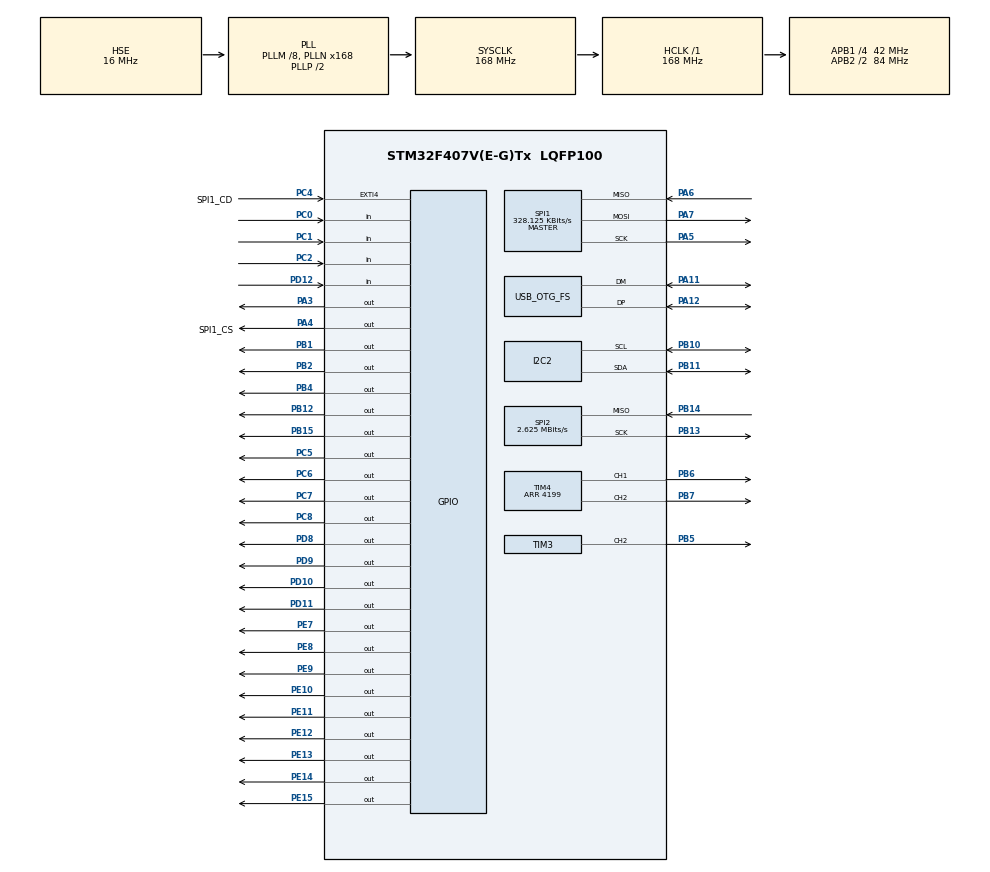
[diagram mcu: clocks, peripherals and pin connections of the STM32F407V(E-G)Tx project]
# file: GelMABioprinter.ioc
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Dma.Request0=SPI2_RX
Dma.SPI2_RX.0.Direction=DMA_PERIPH_TO_MEMORY
Dma.SPI2_RX.0.FIFOMode=DMA_FIFOMODE_DISABLE
Dma.SPI2_RX.0.Instance=DMA1_Stream3
Dma.SPI2_RX.0.MemDataAlignment=DMA_MDATAALIGN_BYTE
Dma.SPI2_RX.0.MemInc=DMA_MINC_ENABLE
Dma.SPI2_RX.0.Mode=DMA_NORMAL
Dma.SPI2_RX.0.PeriphDataAlignment=DMA_PDATAALIGN_BYTE
Dma.SPI2_RX.0.PeriphInc=DMA_PINC_DISABLE
Dma.SPI2_RX.0.Priority=DMA_PRIORITY_LOW
Mcu.Family=STM32F4
Mcu.Name=STM32F407V(E-G)Tx
Mcu.Package=LQFP100
NVIC.DMA1_Stream3_IRQn=true\:0\:0\:false\:false\:true\:false\:true\:true
NVIC.OTG_FS_IRQn=true\:0\:0\:false\:false\:true\:false\:true\:true
NVIC.PriorityGroup=NVIC_PRIORITYGROUP_4
NVIC.TIM1_UP_TIM10_IRQn=true\:0\:0\:false\:false\:true\:true\:true\:true
PA11.Mode=Device_Only
PA11.Signal=USB_OTG_FS_DM
PA12.Mode=Device_Only
PA12.Signal=USB_OTG_FS_DP
PA13.Mode=Serial_Wire
PA13.Signal=SYS_JTMS-SWDIO
PA14.Mode=Serial_Wire
PA14.Signal=SYS_JTCK-SWCLK
PA3.GPIO_Speed=GPIO_SPEED_FREQ_LOW
PA3.Signal=GPIO_Output
PA4.GPIO_Label=SPI1_CS
PA4.GPIO_PuPd=GPIO_PULLUP
PA4.PinState=GPIO_PIN_SET
PA4.Signal=GPIO_Output
PA5.GPIO_PuPd=GPIO_PULLUP
PA5.Mode=Full_Duplex_Master
PA5.Signal=SPI1_SCK
PA6.GPIO_PuPd=GPIO_PULLUP
PA6.Mode=Full_Duplex_Master
PA6.Signal=SPI1_MISO
PA7.GPIO_PuPd=GPIO_PULLUP
PA7.Mode=Full_Duplex_Master
PA7.Signal=SPI1_MOSI
PB1.Signal=GPIO_Output
PB10.Mode=I2C
PB10.Signal=I2C2_SCL
PB11.Mode=I2C
PB11.Signal=I2C2_SDA
PB12.PinState=GPIO_PIN_SET
PB12.Signal=GPIO_Output
PB13.Mode=RX_Only_Simplex_Unidirect_Master
PB13.Signal=SPI2_SCK
PB14.Mode=RX_Only_Simplex_Unidirect_Master
PB14.Signal=SPI2_MISO
PB15.Signal=GPIO_Output
PB2.Signal=GPIO_Output
PB4.Signal=GPIO_Output
PB5.Signal=S_TIM3_CH2
PB6.Signal=S_TIM4_CH1
PB7.Signal=S_TIM4_CH2
PC0.GPIO_PuPd=GPIO_PULLUP
PC0.Signal=GPIO_Input
PC1.GPIO_PuPd=GPIO_PULLUP
PC1.Signal=GPIO_Input
PC2.GPIO_PuPd=GPIO_PULLUP
PC2.Signal=GPIO_Input
PC4.GPIO_Label=SPI1_CD
PC4.GPIO_ModeDefaultEXTI=GPIO_MODE_IT_RISING_FALLING
PC4.GPIO_PuPd=GPIO_PULLUP
PC4.Signal=GPXTI4
PC5.Signal=GPIO_Output
PC6.PinState=GPIO_PIN_SET
PC6.Signal=GPIO_Output
PC7.PinState=GPIO_PIN_SET
PC7.Signal=GPIO_Output
PC8.Signal=GPIO_Output
PD10.Signal=GPIO_Output
PD11.Signal=GPIO_Output
PD12.GPIO_PuPd=GPIO_PULLUP
PD12.Signal=GPIO_Input
PD8.PinState=GPIO_PIN_SET
PD8.Signal=GPIO_Output
PD9.Signal=GPIO_Output
PE10.Signal=GPIO_Output
PE11.GPIO_Speed=GPIO_SPEED_FREQ_LOW
PE11.Signal=GPIO_Output
PE12.Signal=GPIO_Output
PE13.GPIO_Speed=GPIO_SPEED_FREQ_LOW
PE13.Signal=GPIO_Output
PE14.GPIO_Speed=GPIO_SPEED_FREQ_LOW
PE14.Signal=GPIO_Output
PE15.Signal=GPIO_Output
PE7.PinState=GPIO_PIN_SET
PE7.Signal=GPIO_Output
PE8.Signal=GPIO_Output
PE9.GPIO_Speed=GPIO_SPEED_FREQ_LOW
PE9.Signal=GPIO_Output
PH0-OSC_IN.Mode=HSE-External-Oscillator
PH0-OSC_IN.Signal=RCC_OSC_IN
PH1-OSC_OUT.Mode=HSE-External-Oscillator
PH1-OSC_OUT.Signal=RCC_OSC_OUT
ProjectManager.HeapSize=0x200
ProjectManager.StackSize=0x400
ProjectManager.TargetToolchain=STM32CubeIDE
RCC.48MHZClocksFreq_Value=48000000
RCC.AHBFreq_Value=168000000
RCC.APB1CLKDivider=RCC_HCLK_DIV4
RCC.APB1Freq_Value=42000000
RCC.APB1TimFreq_Value=84000000
RCC.APB2CLKDivider=RCC_HCLK_DIV2
RCC.APB2Freq_Value=84000000
RCC.APB2TimFreq_Value=168000000
RCC.CortexFreq_Value=168000000
RCC.HCLKFreq_Value=168000000
RCC.HSE_VALUE=16000000
RCC.HSI_VALUE=16000000
RCC.LSE_VALUE=32768
RCC.PLLM=8
RCC.PLLN=168
RCC.PLLQ=7
RCC.SYSCLKFreq_VALUE=168000000
RCC.SYSCLKSource=RCC_SYSCLKSOURCE_PLLCLK
RCC.VCOOutputFreq_Value=336000000
SH.S_TIM3_CH2.0=TIM3_CH2,PWM Generation2 CH2
SH.S_TIM4_CH1.0=TIM4_CH1,PWM Generation1 CH1
SH.S_TIM4_CH2.0=TIM4_CH2,PWM Generation2 CH2
SPI1.BaudRatePrescaler=SPI_BAUDRATEPRESCALER_256
SPI1.CalculateBaudRate=328.125 KBits/s
SPI1.Direction=SPI_DIRECTION_2LINES
SPI1.Mode=SPI_MODE_MASTER
SPI1.VirtualType=VM_MASTER
SPI2.BaudRatePrescaler=SPI_BAUDRATEPRESCALER_16
SPI2.CLKPhase=SPI_PHASE_1EDGE
SPI2.CalculateBaudRate=2.625 MBits/s
SPI2.DataSize=SPI_DATASIZE_16BIT
SPI2.Direction=SPI_DIRECTION_2LINES_RXONLY
SPI2.Mode=SPI_MODE_MASTER
SPI2.VirtualType=VM_MASTER
TIM1.Period=65535
TIM1.Prescaler=167
TIM2.Period=65535
TIM2.Prescaler=71
TIM3.AutoReloadPreload=TIM_AUTORELOAD_PRELOAD_ENABLE
TIM3.Channel-PWM\ Generation2\ CH2=TIM_CHANNEL_2
TIM3.Period=4199
TIM4.AutoReloadPreload=TIM_AUTORELOAD_PRELOAD_ENABLE
TIM4.Channel-PWM\ Generation1\ CH1=TIM_CHANNEL_1
TIM4.Channel-PWM\ Generation2\ CH2=TIM_CHANNEL_2
TIM4.Period=4199
TIM5.Prescaler=83
USB_DEVICE.CLASS_NAME_FS=CDC
USB_DEVICE.VirtualMode-CDC_FS=Cdc
USB_DEVICE.VirtualModeFS=Cdc_FS
USB_OTG_FS.VirtualMode=Device_Only
VP_FATFS_VS_Generic.Mode=User_defined
VP_TIM1_VS_ClockSourceINT.Mode=Internal
VP_TIM2_VS_ClockSourceINT.Mode=Internal
VP_TIM3_VS_ClockSourceINT.Mode=Internal
VP_TIM4_VS_ClockSourceINT.Mode=Internal
VP_TIM5_VS_ClockSourceINT.Mode=Internal
VP_USB_DEVICE_VS_USB_DEVICE_CDC_FS.Mode=CDC_FS
board=custom

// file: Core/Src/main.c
/* USER CODE BEGIN Header */
/**
  ******************************************************************************
  * @file           : main.c
  * @brief          : Main program body
  ******************************************************************************
  * @attention
  *
  * Copyright (c) 2025 STMicroelectronics.
  * All rights reserved.
  *
  * This software is licensed under terms that can be found in the LICENSE file
  * in the root directory of this software component.
  * If no LICENSE file comes with this software, it is provided AS-IS.
  *
  ******************************************************************************
  */
/* USER CODE END Header */
#include "main.h"
#include "fatfs.h"
#include "usb_device.h"

/* USER CODE BEGIN Includes */
#include <math.h>
#include "string.h"
#include <stdarg.h>
#include <stdio.h>
#include "usbd_def.h"
#include "usbd_cdc_if.h"
#include "system_pins.h"
#include "delay_us.h"
#include "stepper.h"
#include "eeprom.h"
#include "mosfet.h"
#include "MAX6675.h"
#include "HX711.h"
/* USER CODE END Includes */

I2C_HandleTypeDef hi2c2;

SPI_HandleTypeDef hspi1;
SPI_HandleTypeDef hspi2;
DMA_HandleTypeDef hdma_spi2_rx;

TIM_HandleTypeDef htim1;
TIM_HandleTypeDef htim2;
TIM_HandleTypeDef htim3;
TIM_HandleTypeDef htim4;
TIM_HandleTypeDef htim5;

/* USER CODE BEGIN PV */
static float   setNozTempCmd = 0.0f; // Nozzle set temperature
static uint8_t oneTimeDone = 0;
static float tempsC[8] = {0};
//static uint8_t muxIndex = 0;
//static uint32_t lastTempKickMs = 0;
static uint32_t lastUsbTxMs = 0;
static uint32_t lastPwmUpdateMs = 0;

// SD card variables
static FATFS   s_fs;                   // filesystem object
static FIL     s_file;                 // open CSV
static uint8_t s_sdReady = 0;          // 0=not mounted/opened yet
static uint8_t s_headerSkipped = 0;
static uint32_t s_lastSDms = 0;        // throttle
static char    s_line[160];            // one CSV line buffer
/* USER CODE END PV */

void SystemClock_Config(void);
static void MX_GPIO_Init(void);
static void MX_DMA_Init(void);
static void MX_TIM1_Init(void);
static void MX_SPI2_Init(void);
static void MX_TIM2_Init(void);
static void MX_SPI1_Init(void);
static void MX_TIM3_Init(void);
static void MX_TIM4_Init(void);
static void MX_I2C2_Init(void);
static void MX_TIM5_Init(void);
/* USER CODE BEGIN PFP */
void Home(TIM_HandleTypeDef *htim_for_delay);
static void Task_Once_StorageInit(void);
static void USB_Printf(const char *fmt, ...);
static void Task_StreamUSB(void);
static void Task_ReadSD(void);
static void Task_UpdatePWMs(void);

void SystemTasks(void);
/* USER CODE END PFP */

/* USER CODE BEGIN 0 */
/*static void Task_SampleSensors(void)
{
  uint32_t now = HAL_GetTick();
  if ((now - lastTempKickMs) >= 300U) {*/
    /* small settle time through mux */
    /*HAL_Delay(5);
    tempsC[muxIndex] = Max6675_Read_Temp(); // blocks ~250 ms inside
    muxIndex = (uint8_t)((muxIndex + 1U) & 7U);
    lastTempKickMs = HAL_GetTick(); // update after the blocking read
  }
}*/
/* USER CODE END 0 */

int main(void)
{

  /* MCU Configuration--------------------------------------------------------*/

  /* Reset of all peripherals, Initializes the Flash interface and the Systick. */
  HAL_Init();

  /* Configure the system clock */
  SystemClock_Config();

  /* Initialize all configured peripherals */
  MX_GPIO_Init();
  MX_DMA_Init();
  MX_TIM1_Init();
  MX_USB_DEVICE_Init();
  MX_SPI2_Init();
  MX_TIM2_Init();
  MX_SPI1_Init();
  MX_FATFS_Init();
  MX_TIM3_Init();
  MX_TIM4_Init();
  MX_I2C2_Init();
  MX_TIM5_Init();
  /* USER CODE BEGIN 2 */
  HAL_GPIO_WritePin(PELTIER_GPIO_Port, PELTIER_GPIO_Pin, GPIO_PIN_SET); // Give the bed time to cool

  extern TIM_HandleTypeDef htim5;
  Home(&htim5);

  // Start the stepper ISR scheduler on TIM1
  Stepper_Init_TIM1();
  Stepper_ResetPosition(0,0,0,0);
  //Stepper_QueueAbs(135, 170.5, -99.7, 0, 30 );// The iteratively solved bed center
  //Stepper_QueueAbs(210, 270, -90, 0, 40 );
  //Stepper_QueueAbs(210, 270, -90, 10, 2 );
  //Stepper_QueueAbs(210,0,0,31,40);

  Mosfet_Init();
  HAL_GPIO_WritePin(PELTIER_GPIO_Port, PELTIER_GPIO_Pin, GPIO_PIN_SET); // Give the bed time to cool

  // Start 1µs ticker used by HX711 microDelay()
  HAL_TIM_Base_Start(&htim2);

  /* USER CODE END 2 */

  /* Infinite loop */
  /* USER CODE BEGIN WHILE */

  HAL_GPIO_WritePin(SSPORT, SSPIN, GPIO_PIN_SET);

  while (1)
  {
	SystemTasks();
    /* USER CODE END WHILE */

  }
}

void SystemClock_Config(void)
{
  RCC_OscInitTypeDef RCC_OscInitStruct = {0};
  RCC_ClkInitTypeDef RCC_ClkInitStruct = {0};

  /** Configure the main internal regulator output voltage
  */
  __HAL_RCC_PWR_CLK_ENABLE();
  __HAL_PWR_VOLTAGESCALING_CONFIG(PWR_REGULATOR_VOLTAGE_SCALE1);

  /** Initializes the RCC Oscillators according to the specified parameters
  * in the RCC_OscInitTypeDef structure.
  */
  RCC_OscInitStruct.OscillatorType = RCC_OSCILLATORTYPE_HSE;
  RCC_OscInitStruct.HSEState = RCC_HSE_ON;
  RCC_OscInitStruct.PLL.PLLState = RCC_PLL_ON;
  RCC_OscInitStruct.PLL.PLLSource = RCC_PLLSOURCE_HSE;
  RCC_OscInitStruct.PLL.PLLM = 8;
  RCC_OscInitStruct.PLL.PLLN = 168;
  RCC_OscInitStruct.PLL.PLLP = RCC_PLLP_DIV2;
  RCC_OscInitStruct.PLL.PLLQ = 7;
  if (HAL_RCC_OscConfig(&RCC_OscInitStruct) != HAL_OK)
  {
    Error_Handler();
  }

  /** Initializes the CPU, AHB and APB buses clocks
  */
  RCC_ClkInitStruct.ClockType = RCC_CLOCKTYPE_HCLK|RCC_CLOCKTYPE_SYSCLK
                              |RCC_CLOCKTYPE_PCLK1|RCC_CLOCKTYPE_PCLK2;
  RCC_ClkInitStruct.SYSCLKSource = RCC_SYSCLKSOURCE_PLLCLK;
  RCC_ClkInitStruct.AHBCLKDivider = RCC_SYSCLK_DIV1;
  RCC_ClkInitStruct.APB1CLKDivider = RCC_HCLK_DIV4;
  RCC_ClkInitStruct.APB2CLKDivider = RCC_HCLK_DIV2;

  if (HAL_RCC_ClockConfig(&RCC_ClkInitStruct, FLASH_LATENCY_5) != HAL_OK)
  {
    Error_Handler();
  }
}

static void MX_I2C2_Init(void)
{

  hi2c2.Instance = I2C2;
  hi2c2.Init.ClockSpeed = 100000;
  hi2c2.Init.DutyCycle = I2C_DUTYCYCLE_2;
  hi2c2.Init.OwnAddress1 = 0;
  hi2c2.Init.AddressingMode = I2C_ADDRESSINGMODE_7BIT;
  hi2c2.Init.DualAddressMode = I2C_DUALADDRESS_DISABLE;
  hi2c2.Init.OwnAddress2 = 0;
  hi2c2.Init.GeneralCallMode = I2C_GENERALCALL_DISABLE;
  hi2c2.Init.NoStretchMode = I2C_NOSTRETCH_DISABLE;
  if (HAL_I2C_Init(&hi2c2) != HAL_OK)
  {
    Error_Handler();
  }

}

static void MX_SPI1_Init(void)
{

  /* SPI1 parameter configuration*/
  hspi1.Instance = SPI1;
  hspi1.Init.Mode = SPI_MODE_MASTER;
  hspi1.Init.Direction = SPI_DIRECTION_2LINES;
  hspi1.Init.DataSize = SPI_DATASIZE_8BIT;
  hspi1.Init.CLKPolarity = SPI_POLARITY_LOW;
  hspi1.Init.CLKPhase = SPI_PHASE_1EDGE;
  hspi1.Init.NSS = SPI_NSS_SOFT;
  hspi1.Init.BaudRatePrescaler = SPI_BAUDRATEPRESCALER_256;
  hspi1.Init.FirstBit = SPI_FIRSTBIT_MSB;
  hspi1.Init.TIMode = SPI_TIMODE_DISABLE;
  hspi1.Init.CRCCalculation = SPI_CRCCALCULATION_DISABLE;
  hspi1.Init.CRCPolynomial = 10;
  if (HAL_SPI_Init(&hspi1) != HAL_OK)
  {
    Error_Handler();
  }

}

static void MX_SPI2_Init(void)
{

  /* SPI2 parameter configuration*/
  hspi2.Instance = SPI2;
  hspi2.Init.Mode = SPI_MODE_MASTER;
  hspi2.Init.Direction = SPI_DIRECTION_2LINES_RXONLY;
  hspi2.Init.DataSize = SPI_DATASIZE_16BIT;
  hspi2.Init.CLKPolarity = SPI_POLARITY_LOW;
  hspi2.Init.CLKPhase = SPI_PHASE_1EDGE;
  hspi2.Init.NSS = SPI_NSS_SOFT;
  hspi2.Init.BaudRatePrescaler = SPI_BAUDRATEPRESCALER_16;
  hspi2.Init.FirstBit = SPI_FIRSTBIT_MSB;
  hspi2.Init.TIMode = SPI_TIMODE_DISABLE;
  hspi2.Init.CRCCalculation = SPI_CRCCALCULATION_DISABLE;
  hspi2.Init.CRCPolynomial = 10;
  if (HAL_SPI_Init(&hspi2) != HAL_OK)
  {
    Error_Handler();
  }

}

static void MX_TIM1_Init(void)
{

  TIM_ClockConfigTypeDef sClockSourceConfig = {0};
  TIM_MasterConfigTypeDef sMasterConfig = {0};

  htim1.Instance = TIM1;
  htim1.Init.Prescaler = 167;
  htim1.Init.CounterMode = TIM_COUNTERMODE_UP;
  htim1.Init.Period = 65535;
  htim1.Init.ClockDivision = TIM_CLOCKDIVISION_DIV1;
  htim1.Init.RepetitionCounter = 0;
  htim1.Init.AutoReloadPreload = TIM_AUTORELOAD_PRELOAD_DISABLE;
  if (HAL_TIM_Base_Init(&htim1) != HAL_OK)
  {
    Error_Handler();
  }
  sClockSourceConfig.ClockSource = TIM_CLOCKSOURCE_INTERNAL;
  if (HAL_TIM_ConfigClockSource(&htim1, &sClockSourceConfig) != HAL_OK)
  {
    Error_Handler();
  }
  sMasterConfig.MasterOutputTrigger = TIM_TRGO_RESET;
  sMasterConfig.MasterSlaveMode = TIM_MASTERSLAVEMODE_DISABLE;
  if (HAL_TIMEx_MasterConfigSynchronization(&htim1, &sMasterConfig) != HAL_OK)
  {
    Error_Handler();
  }

}

static void MX_TIM2_Init(void)
{

  TIM_ClockConfigTypeDef sClockSourceConfig = {0};
  TIM_MasterConfigTypeDef sMasterConfig = {0};

  htim2.Instance = TIM2;
  htim2.Init.Prescaler = 71;
  htim2.Init.CounterMode = TIM_COUNTERMODE_UP;
  htim2.Init.Period = 65535;
  htim2.Init.ClockDivision = TIM_CLOCKDIVISION_DIV1;
  htim2.Init.AutoReloadPreload = TIM_AUTORELOAD_PRELOAD_DISABLE;
  if (HAL_TIM_Base_Init(&htim2) != HAL_OK)
  {
    Error_Handler();
  }
  sClockSourceConfig.ClockSource = TIM_CLOCKSOURCE_INTERNAL;
  if (HAL_TIM_ConfigClockSource(&htim2, &sClockSourceConfig) != HAL_OK)
  {
    Error_Handler();
  }
  sMasterConfig.MasterOutputTrigger = TIM_TRGO_RESET;
  sMasterConfig.MasterSlaveMode = TIM_MASTERSLAVEMODE_DISABLE;
  if (HAL_TIMEx_MasterConfigSynchronization(&htim2, &sMasterConfig) != HAL_OK)
  {
    Error_Handler();
  }

}

static void MX_TIM3_Init(void)
{

  TIM_ClockConfigTypeDef sClockSourceConfig = {0};
  TIM_MasterConfigTypeDef sMasterConfig = {0};
  TIM_OC_InitTypeDef sConfigOC = {0};

  htim3.Instance = TIM3;
  htim3.Init.Prescaler = 0;
  htim3.Init.CounterMode = TIM_COUNTERMODE_UP;
  htim3.Init.Period = 4199;
  htim3.Init.ClockDivision = TIM_CLOCKDIVISION_DIV1;
  htim3.Init.AutoReloadPreload = TIM_AUTORELOAD_PRELOAD_ENABLE;
  if (HAL_TIM_Base_Init(&htim3) != HAL_OK)
  {
    Error_Handler();
  }
  sClockSourceConfig.ClockSource = TIM_CLOCKSOURCE_INTERNAL;
  if (HAL_TIM_ConfigClockSource(&htim3, &sClockSourceConfig) != HAL_OK)
  {
    Error_Handler();
  }
  if (HAL_TIM_PWM_Init(&htim3) != HAL_OK)
  {
    Error_Handler();
  }
  sMasterConfig.MasterOutputTrigger = TIM_TRGO_RESET;
  sMasterConfig.MasterSlaveMode = TIM_MASTERSLAVEMODE_DISABLE;
  if (HAL_TIMEx_MasterConfigSynchronization(&htim3, &sMasterConfig) != HAL_OK)
  {
    Error_Handler();
  }
  sConfigOC.OCMode = TIM_OCMODE_PWM1;
  sConfigOC.Pulse = 0;
  sConfigOC.OCPolarity = TIM_OCPOLARITY_HIGH;
  sConfigOC.OCFastMode = TIM_OCFAST_DISABLE;
  if (HAL_TIM_PWM_ConfigChannel(&htim3, &sConfigOC, TIM_CHANNEL_2) != HAL_OK)
  {
    Error_Handler();
  }
  HAL_TIM_MspPostInit(&htim3);

}

static void MX_TIM4_Init(void)
{

  TIM_ClockConfigTypeDef sClockSourceConfig = {0};
  TIM_MasterConfigTypeDef sMasterConfig = {0};
  TIM_OC_InitTypeDef sConfigOC = {0};

  htim4.Instance = TIM4;
  htim4.Init.Prescaler = 0;
  htim4.Init.CounterMode = TIM_COUNTERMODE_UP;
  htim4.Init.Period = 4199;
  htim4.Init.ClockDivision = TIM_CLOCKDIVISION_DIV1;
  htim4.Init.AutoReloadPreload = TIM_AUTORELOAD_PRELOAD_ENABLE;
  if (HAL_TIM_Base_Init(&htim4) != HAL_OK)
  {
    Error_Handler();
  }
  sClockSourceConfig.ClockSource = TIM_CLOCKSOURCE_INTERNAL;
  if (HAL_TIM_ConfigClockSource(&htim4, &sClockSourceConfig) != HAL_OK)
  {
    Error_Handler();
  }
  if (HAL_TIM_PWM_Init(&htim4) != HAL_OK)
  {
    Error_Handler();
  }
  sMasterConfig.MasterOutputTrigger = TIM_TRGO_RESET;
  sMasterConfig.MasterSlaveMode = TIM_MASTERSLAVEMODE_DISABLE;
  if (HAL_TIMEx_MasterConfigSynchronization(&htim4, &sMasterConfig) != HAL_OK)
  {
    Error_Handler();
  }
  sConfigOC.OCMode = TIM_OCMODE_PWM1;
  sConfigOC.Pulse = 0;
  sConfigOC.OCPolarity = TIM_OCPOLARITY_HIGH;
  sConfigOC.OCFastMode = TIM_OCFAST_DISABLE;
  if (HAL_TIM_PWM_ConfigChannel(&htim4, &sConfigOC, TIM_CHANNEL_1) != HAL_OK)
  {
    Error_Handler();
  }
  if (HAL_TIM_PWM_ConfigChannel(&htim4, &sConfigOC, TIM_CHANNEL_2) != HAL_OK)
  {
    Error_Handler();
  }
  HAL_TIM_MspPostInit(&htim4);

}

static void MX_TIM5_Init(void)
{

  TIM_ClockConfigTypeDef sClockSourceConfig = {0};
  TIM_MasterConfigTypeDef sMasterConfig = {0};

  htim5.Instance = TIM5;
  htim5.Init.Prescaler = 83;
  htim5.Init.CounterMode = TIM_COUNTERMODE_UP;
  htim5.Init.Period = 4294967295;
  htim5.Init.ClockDivision = TIM_CLOCKDIVISION_DIV1;
  htim5.Init.AutoReloadPreload = TIM_AUTORELOAD_PRELOAD_DISABLE;
  if (HAL_TIM_Base_Init(&htim5) != HAL_OK)
  {
    Error_Handler();
  }
  sClockSourceConfig.ClockSource = TIM_CLOCKSOURCE_INTERNAL;
  if (HAL_TIM_ConfigClockSource(&htim5, &sClockSourceConfig) != HAL_OK)
  {
    Error_Handler();
  }
  sMasterConfig.MasterOutputTrigger = TIM_TRGO_RESET;
  sMasterConfig.MasterSlaveMode = TIM_MASTERSLAVEMODE_DISABLE;
  if (HAL_TIMEx_MasterConfigSynchronization(&htim5, &sMasterConfig) != HAL_OK)
  {
    Error_Handler();
  }

}

static void MX_DMA_Init(void)
{

  /* DMA controller clock enable */
  __HAL_RCC_DMA1_CLK_ENABLE();

  /* DMA interrupt init */
  /* DMA1_Stream3_IRQn interrupt configuration */
  HAL_NVIC_SetPriority(DMA1_Stream3_IRQn, 0, 0);
  HAL_NVIC_EnableIRQ(DMA1_Stream3_IRQn);

}

static void MX_GPIO_Init(void)
{
  GPIO_InitTypeDef GPIO_InitStruct = {0};

  /* GPIO Ports Clock Enable */
  __HAL_RCC_GPIOH_CLK_ENABLE();
  __HAL_RCC_GPIOC_CLK_ENABLE();
  __HAL_RCC_GPIOA_CLK_ENABLE();
  __HAL_RCC_GPIOB_CLK_ENABLE();
  __HAL_RCC_GPIOE_CLK_ENABLE();
  __HAL_RCC_GPIOD_CLK_ENABLE();

  /*Configure GPIO pin Output Level */
  HAL_GPIO_WritePin(GPIOA, GPIO_PIN_3, GPIO_PIN_RESET);

  /*Configure GPIO pin Output Level */
  HAL_GPIO_WritePin(SPI1_CS_GPIO_Port, SPI1_CS_Pin, GPIO_PIN_SET);

  /*Configure GPIO pin Output Level */
  HAL_GPIO_WritePin(GPIOC, GPIO_PIN_5|GPIO_PIN_8, GPIO_PIN_RESET);

  /*Configure GPIO pin Output Level */
  HAL_GPIO_WritePin(GPIOB, GPIO_PIN_1|GPIO_PIN_2|GPIO_PIN_15|GPIO_PIN_4, GPIO_PIN_RESET);

  /*Configure GPIO pin Output Level */
  HAL_GPIO_WritePin(GPIOE, GPIO_PIN_7, GPIO_PIN_SET);

  /*Configure GPIO pin Output Level */
  HAL_GPIO_WritePin(GPIOE, GPIO_PIN_8|GPIO_PIN_9|GPIO_PIN_10|GPIO_PIN_11
                          |GPIO_PIN_12|GPIO_PIN_13|GPIO_PIN_14|GPIO_PIN_15, GPIO_PIN_RESET);

  /*Configure GPIO pin Output Level */
  HAL_GPIO_WritePin(GPIOB, GPIO_PIN_12, GPIO_PIN_SET);

  /*Configure GPIO pin Output Level */
  HAL_GPIO_WritePin(GPIOD, GPIO_PIN_8, GPIO_PIN_SET);

  /*Configure GPIO pin Output Level */
  HAL_GPIO_WritePin(GPIOD, GPIO_PIN_9|GPIO_PIN_10|GPIO_PIN_11, GPIO_PIN_RESET);

  /*Configure GPIO pin Output Level */
  HAL_GPIO_WritePin(GPIOC, GPIO_PIN_6|GPIO_PIN_7, GPIO_PIN_SET);

  /*Configure GPIO pins : PC0 PC1 PC2 */
  GPIO_InitStruct.Pin = GPIO_PIN_0|GPIO_PIN_1|GPIO_PIN_2;
  GPIO_InitStruct.Mode = GPIO_MODE_INPUT;
  GPIO_InitStruct.Pull = GPIO_PULLUP;
  HAL_GPIO_Init(GPIOC, &GPIO_InitStruct);

  /*Configure GPIO pin : PA3 */
  GPIO_InitStruct.Pin = GPIO_PIN_3;
  GPIO_InitStruct.Mode = GPIO_MODE_OUTPUT_PP;
  GPIO_InitStruct.Pull = GPIO_NOPULL;
  GPIO_InitStruct.Speed = GPIO_SPEED_FREQ_LOW;
  HAL_GPIO_Init(GPIOA, &GPIO_InitStruct);

  /*Configure GPIO pin : SPI1_CS_Pin */
  GPIO_InitStruct.Pin = SPI1_CS_Pin;
  GPIO_InitStruct.Mode = GPIO_MODE_OUTPUT_PP;
  GPIO_InitStruct.Pull = GPIO_PULLUP;
  GPIO_InitStruct.Speed = GPIO_SPEED_FREQ_LOW;
  HAL_GPIO_Init(SPI1_CS_GPIO_Port, &GPIO_InitStruct);

  /*Configure GPIO pin : SPI1_CD_Pin */
  GPIO_InitStruct.Pin = SPI1_CD_Pin;
  GPIO_InitStruct.Mode = GPIO_MODE_IT_RISING_FALLING;
  GPIO_InitStruct.Pull = GPIO_PULLUP;
  HAL_GPIO_Init(SPI1_CD_GPIO_Port, &GPIO_InitStruct);

  /*Configure GPIO pins : PC5 PC6 PC7 PC8 */
  GPIO_InitStruct.Pin = GPIO_PIN_5|GPIO_PIN_6|GPIO_PIN_7|GPIO_PIN_8;
  GPIO_InitStruct.Mode = GPIO_MODE_OUTPUT_PP;
  GPIO_InitStruct.Pull = GPIO_NOPULL;
  GPIO_InitStruct.Speed = GPIO_SPEED_FREQ_LOW;
  HAL_GPIO_Init(GPIOC, &GPIO_InitStruct);

  /*Configure GPIO pins : PB1 PB2 PB12 PB15
                           PB4 */
  GPIO_InitStruct.Pin = GPIO_PIN_1|GPIO_PIN_2|GPIO_PIN_12|GPIO_PIN_15
                          |GPIO_PIN_4;
  GPIO_InitStruct.Mode = GPIO_MODE_OUTPUT_PP;
  GPIO_InitStruct.Pull = GPIO_NOPULL;
  GPIO_InitStruct.Speed = GPIO_SPEED_FREQ_LOW;
  HAL_GPIO_Init(GPIOB, &GPIO_InitStruct);

  /*Configure GPIO pins : PE7 PE8 PE9 PE10
                           PE11 PE12 PE13 PE14
                           PE15 */
  GPIO_InitStruct.Pin = GPIO_PIN_7|GPIO_PIN_8|GPIO_PIN_9|GPIO_PIN_10
                          |GPIO_PIN_11|GPIO_PIN_12|GPIO_PIN_13|GPIO_PIN_14
                          |GPIO_PIN_15;
  GPIO_InitStruct.Mode = GPIO_MODE_OUTPUT_PP;
  GPIO_InitStruct.Pull = GPIO_NOPULL;
  GPIO_InitStruct.Speed = GPIO_SPEED_FREQ_LOW;
  HAL_GPIO_Init(GPIOE, &GPIO_InitStruct);

  /*Configure GPIO pins : PD8 PD9 PD10 PD11 */
  GPIO_InitStruct.Pin = GPIO_PIN_8|GPIO_PIN_9|GPIO_PIN_10|GPIO_PIN_11;
  GPIO_InitStruct.Mode = GPIO_MODE_OUTPUT_PP;
  GPIO_InitStruct.Pull = GPIO_NOPULL;
  GPIO_InitStruct.Speed = GPIO_SPEED_FREQ_LOW;
  HAL_GPIO_Init(GPIOD, &GPIO_InitStruct);

  /*Configure GPIO pin : PD12 */
  GPIO_InitStruct.Pin = GPIO_PIN_12;
  GPIO_InitStruct.Mode = GPIO_MODE_INPUT;
  GPIO_InitStruct.Pull = GPIO_PULLUP;
  HAL_GPIO_Init(GPIOD, &GPIO_InitStruct);

}

/* USER CODE BEGIN 4 */
// Homing function
void Home(TIM_HandleTypeDef *htim_for_delay){
    const uint32_t pulse_high_us = 5;    // >1 µs is required by A4988 datasheet
    const uint32_t z_between_us  = 150;  // 16 Microsteps + TR8x8 lead screw => 16.13 mm/s
    const uint32_t y_between_us  = 1390; // 16 Microsteps + GT2 36T belt     => 16.13 mm/s
    const uint32_t x_between_us  = 770;  // 16 Microsteps + GT2 20T belt     => 16.13 mm/s

    delay_us_init(htim_for_delay); 						    // pass &htim from main.c
    HAL_GPIO_WritePin(EN_Port, EN_Pin, GPIO_PIN_RESET);     // Enable outputs (LOW = enabled)
    HAL_GPIO_WritePin(SLEEP_Port, SLEEP_Pin, GPIO_PIN_SET); //release reset (HIGH)
    HAL_GPIO_WritePin(RESET_Port, RESET_Pin, GPIO_PIN_SET); //Disable sleep (HIGH)

    // Microstep Settings
    HAL_GPIO_WritePin(M0_Port, M0_Pin, GPIO_PIN_SET);
    HAL_GPIO_WritePin(M1_Port, M1_Pin, GPIO_PIN_SET);
    HAL_GPIO_WritePin(M2_Port, M2_Pin, GPIO_PIN_SET);

    // Homing direction
    HAL_GPIO_WritePin(DIR_Z_Port, DIR_Z_Pin, GPIO_PIN_SET);
    HAL_GPIO_WritePin(DIR_Y_Port, DIR_Y_Pin, GPIO_PIN_SET);
    HAL_GPIO_WritePin(DIR_X_Port, DIR_X_Pin, GPIO_PIN_RESET);

    delay_us(10); // Delay for latency

    //Home Z axis
    while (HAL_GPIO_ReadPin(LIMIT_Z_Port, LIMIT_Z_Pin) == GPIO_PIN_SET) {
        HAL_GPIO_WritePin(STEP_Z_Port, STEP_Z_Pin, GPIO_PIN_SET);
        delay_us(pulse_high_us);
        HAL_GPIO_WritePin(STEP_Z_Port, STEP_Z_Pin, GPIO_PIN_RESET);
        delay_us(z_between_us);
    }

    //Home Y axis
    while (HAL_GPIO_ReadPin(LIMIT_Y_Port, LIMIT_Y_Pin) == GPIO_PIN_SET) {
        HAL_GPIO_WritePin(STEP_Y_Port, STEP_Y_Pin, GPIO_PIN_SET);
        delay_us(pulse_high_us);
        HAL_GPIO_WritePin(STEP_Y_Port, STEP_Y_Pin, GPIO_PIN_RESET);
        delay_us(y_between_us);
    }

    //Home X axis
    while (HAL_GPIO_ReadPin(LIMIT_X_Port, LIMIT_X_Pin) == GPIO_PIN_SET) {
        HAL_GPIO_WritePin(STEP_X_Port, STEP_X_Pin, GPIO_PIN_SET);
        delay_us(pulse_high_us);
        HAL_GPIO_WritePin(STEP_X_Port, STEP_X_Pin, GPIO_PIN_RESET);
        delay_us(x_between_us);
    }
}
static void Task_Once_StorageInit(void)
{
  if (oneTimeDone) return;
  if (!s_sdReady) {
    MX_FATFS_Init();
    if (f_mount(&s_fs, "", 1) == FR_OK) {  // mount at root
      /* Open for reading*/
      if (f_open(&s_file, "PrintTask.csv", FA_READ) == FR_OK) {
        s_sdReady = 1;
        s_headerSkipped = 0;               // skip header on first read
      }
    }
  }
  oneTimeDone = 1;
}
static void Task_ReadSD(void)
{
  /* Read at 20 Hz */
  uint32_t now = HAL_GetTick();
  if ((now - s_lastSDms) < 50U) return;
  s_lastSDms = now;
  if (!s_sdReady) return;                 // not mounted/opened

  for (int tries = 0; tries < 8; ++tries)  // small chunk per call to stay snappy
  {
    TCHAR* res = f_gets(s_line, sizeof(s_line), &s_file);
    if (!res) {
      /* EOF or read error: stop feeding (or rewind to loop the job) */
      // f_lseek(&s_file, 0);
      // s_headerSkipped = 0;
      return;
    }

    /* Save the FULL line length BEFORE trimming — for correct rewind on queue-full */
    FSIZE_t full_len = (FSIZE_t)strlen(s_line);

    /* Trim leading spaces and optional UTF-8 BOM on the very first line */
    char *p = s_line;
    if (!s_headerSkipped && (unsigned char)p[0]==0xEF && (unsigned char)p[1]==0xBB && (unsigned char)p[2]==0xBF) {
      p += 3; // skip BOM
    }
    while (*p==' ' || *p=='\t') ++p;

    /* Skip blank lines / comments */
    if (*p=='\0' || *p=='\r' || *p=='\n' || *p=='#' || *p==';') continue;

    /* Skip header row once (starts with 'X' or 'x') */
    if (!s_headerSkipped) {
      s_headerSkipped = 1;
      if (p[0]=='X' || p[0]=='x') continue;
    }

    /* Parse CSV: X,Y,Z,Speed,E,Mode,NozzleTemp */
    float X=0, Y=0, Z=0, Speed=0, E=0, NozT=0;
    int   Mode=0;

    int n = sscanf(p, " %f , %f , %f , %f , %f , %d , %f",
                   &X,   &Y,   &Z,   &Speed, &E,   &Mode, &NozT);

    /* Require ALL 7 fields; anything else is malformed => skip safely */
    if (n != 7 || (Mode != 0 && Mode != 1)) {
      continue;
    }

    setNozTempCmd = NozT;  // stash latest temp command

    /* Queue the motion. If queue is full, rewind exactly the full line length. */
    bool ok = (Mode == 0)
      ? Stepper_QueueAbs(X, Y, Z, E, Speed)   // signature: (X,Y,Z,E,Speed)
      : Stepper_QueueRel(X, Y, Z, E, Speed);

    if (!ok) {
      FSIZE_t cur = f_tell(&s_file);
      if (cur >= full_len) {
        f_lseek(&s_file, cur - full_len);  // retry same line next tick
      }
      break;  // stop feeding this cycle
    }
  }
}

static void USB_Printf(const char *fmt, ...)
{
  static char buf[512];
  va_list ap;
  va_start(ap, fmt);
  int n = vsnprintf(buf, sizeof(buf), fmt, ap);
  va_end(ap);
  if (n < 0) return;
  if (n >= (int)sizeof(buf)) n = (int)sizeof(buf) - 1;
  (void)CDC_Transmit_FS((uint8_t*)buf, (uint16_t)n);
}

static void Task_StreamUSB(void)
{
  uint32_t now = HAL_GetTick();
  if ((now - lastUsbTxMs) >= 1000U) {
    /* read load cell (HX711) and EEPROM sentence each second */
    int loadCell_kg = weigh();   // returns integer kg based on your current code

    USB_Printf(
          "setNozTemp=%.2fC, NozTemp=%.2fC, Load=%d kg \n",setNozTempCmd, tempsC[0], loadCell_kg
        );
    lastUsbTxMs = now;
  }
}

static void Task_UpdatePWMs(void)
{
  uint32_t now = HAL_GetTick();
  if ((now - lastPwmUpdateMs) >= 50U) {
    static uint16_t t = 0;
    t = (uint16_t)((t + 1) % 200);

    /* PB5 (TIM3_CH2): set heater to 50 Hz */
    float dutyA  = 0.0f;

    /* PB6 (TIM4_CH1): turn on fan fully */
    float dutyB  = 100.0f;

    /* PB7 (TIM4_CH2): Curing light protocol */
    float phaseC = (float)t * 2.0f;                  // 0..398 (since t is 0..199)
    if (phaseC > 200.0f) phaseC = 400.0f - phaseC;   // fold to 0..200
    float dutyC  = (phaseC <= 100.0f) ? phaseC : (200.0f - phaseC);

    Mosfet_SetDuty(MOSFET_NOZZLE, dutyA);
    Mosfet_SetDuty(MOSFET_FAN,    dutyB);
    Mosfet_SetDuty(MOSFET_UV,     dutyC);

    lastPwmUpdateMs = now;
  }
}

void SystemTasks(void)
{
  Task_Once_StorageInit();
  Task_ReadSD();
  //Task_SampleSensors();
  Task_StreamUSB();
  Task_UpdatePWMs();
}
/* USER CODE END 4 */

void Error_Handler(void)
{
  __disable_irq();
  while (1)
  {
  }
}
